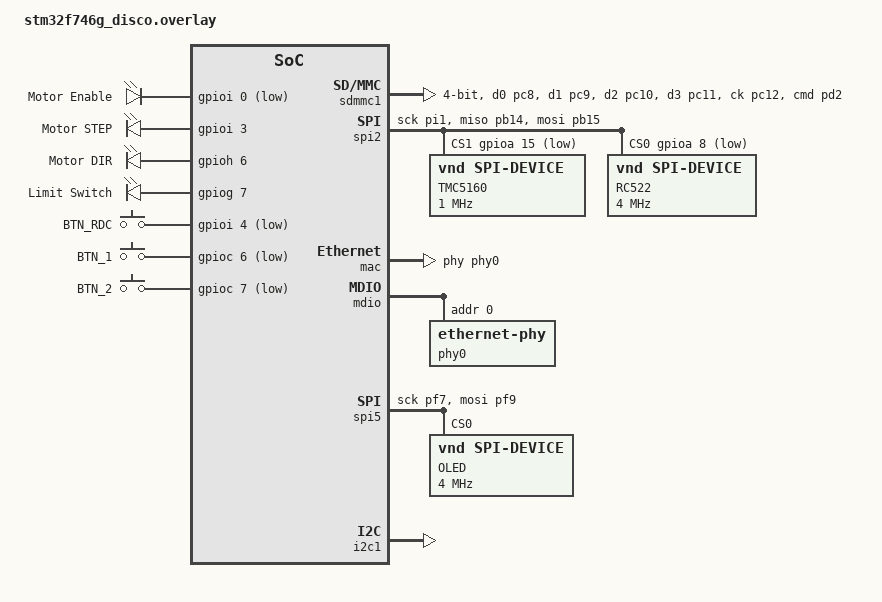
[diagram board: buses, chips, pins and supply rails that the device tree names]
/* boards/stm32f746g_disco.overlay */

/ {
    aliases {
        sdmmc0 = &sdmmc1;
        spi5 = &spi5;
        motor-enable = &motor_enable_pin;
        motor-step   = &motor_step_pin;
        motor-dir    = &motor_dir_pin;
        btn-rdc = &btn_rdc_pin;
        btn-1   = &btn_1_pin;
        btn-2   = &btn_2_pin;
	limit-switch = &limit_switch_pin;
    };

    motor_pins {
        compatible = "gpio-leds";
        motor_enable_pin: motor_enable_pin {
            gpios = <&gpioi 0 GPIO_ACTIVE_LOW>;
            label = "Motor Enable";
        };
        motor_step_pin: motor_step_pin {
            gpios = <&gpioi 3 GPIO_ACTIVE_HIGH>;
            label = "Motor STEP";
        };
        motor_dir_pin: motor_dir_pin {
            gpios = <&gpioh 6 GPIO_ACTIVE_HIGH>;
            label = "Motor DIR";
        };
	/* AJOUT : Capteur Fin de Course (PG7) */
	limit_switch_pin: limit_switch_pin {
            gpios = <&gpiog 7 (GPIO_ACTIVE_HIGH | GPIO_PULL_DOWN)>;
            label = "Limit Switch";
        };
    };

    buttons {
        compatible = "gpio-keys";
        btn_rdc_pin: btn_rdc_pin {
            gpios = <&gpioi 4 GPIO_ACTIVE_LOW>;
            label = "BTN_RDC";
            zephyr,code = <10>;
        };
        btn_1_pin: btn_1_pin {
            gpios = <&gpioc 6 GPIO_ACTIVE_LOW>;
            label = "BTN_1";
            zephyr,code = <11>;
        };
        btn_2_pin: btn_2_pin {
            gpios = <&gpioc 7 GPIO_ACTIVE_LOW>;
            label = "BTN_2";
            zephyr,code = <12>;
        };
    };
};

/* --- Carte SD --- */
&sdmmc1 {
    status = "okay";
    pinctrl-0 = <&sdmmc1_d0_pc8 &sdmmc1_d1_pc9 &sdmmc1_d2_pc10 &sdmmc1_d3_pc11 &sdmmc1_ck_pc12 &sdmmc1_cmd_pd2>;
    pinctrl-names = "default";
    bus-width = <4>;
    cd-gpios = <&gpioi 15 GPIO_ACTIVE_LOW>;
};

/* --- SPI2 PARTAGÉ : TMC5160 + RC522 --- */
&spi2 {
    status = "okay";
    pinctrl-0 = <&spi2_sck_pi1 &spi2_miso_pb14 &spi2_mosi_pb15>;
    pinctrl-names = "default";
    
    /* Chip Selects (CS) :
       Index 0 -> PA8  (RC522)
       Index 1 -> PA15 (TMC5160) <-- AJOUTÉ ICI
    */
    cs-gpios = <&gpioa 8 GPIO_ACTIVE_LOW>, <&gpioa 15 GPIO_ACTIVE_LOW>;

    /* Moteur (utilise index 0 -> PA8) */
    tmc5160: tmc5160@0 {
        compatible = "vnd,spi-device";
        reg = <1>;
        spi-max-frequency = <1000000>;
        label = "TMC5160";
    };

    /* RFID (utilise index 1 -> PA15) */
    rc522: rc522@1 {
        compatible = "vnd,spi-device";
        reg = <0>; 
        spi-max-frequency = <4000000>; 
        label = "RC522";
    };
};

/* --- Ethernet --- */
&mac { status = "okay"; phy-handle = <&phy0>; };
&mdio { status = "okay"; phy0: ethernet-phy@0 { reg = <0>; }; };

/* --- SPI5 pour OLED --- */
&spi5 {
    status = "okay";
    pinctrl-0 = <&spi5_sck_pf7 &spi5_mosi_pf9>;
    pinctrl-names = "default";

    oled: oled@0 {
        compatible = "vnd,spi-device";
        reg = <0>;
        spi-max-frequency = <4000000>;
        label = "OLED";
    };
};

/* Activation des ports GPIO */
&gpioa { status = "okay"; label = "GPIOA"; };
&gpioc { status = "okay"; };
&gpiof { status = "okay"; label = "GPIOF"; };
&gpiog { status = "okay"; };
&gpioh { status = "okay"; };
&gpioi { status = "okay"; };
&i2c1 { status = "okay"; };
